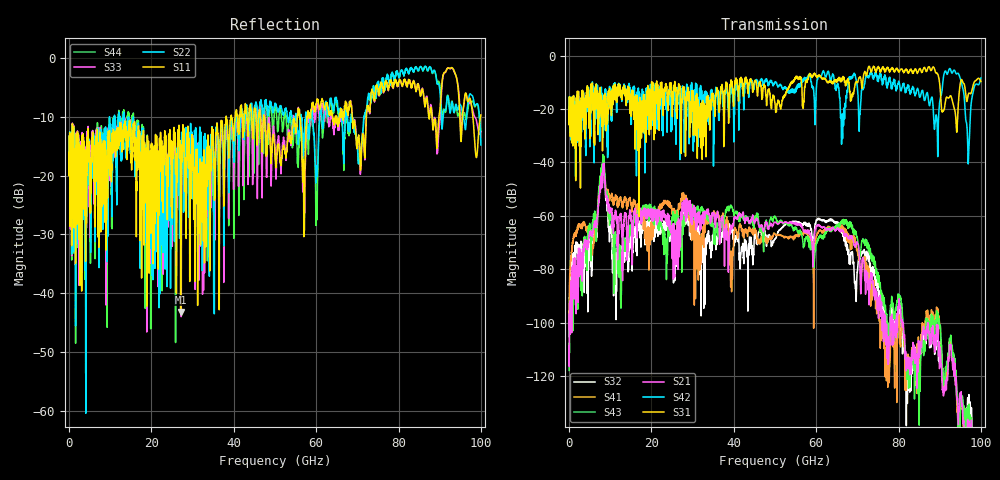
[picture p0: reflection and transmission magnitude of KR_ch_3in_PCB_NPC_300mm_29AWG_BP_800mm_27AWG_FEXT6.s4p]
! Created Thu Mar  2 13:00:49 2023
# ghz S ma R 45
! 4 Port Network Data from SP1.SP block
! freq  magS11  angS11  magS12  angS12  magS13  angS13  magS14  angS14
!  magS21  angS21  magS22  angS22  magS23  angS23  magS24  angS24
!  magS31  angS31  magS32  angS32  magS33  angS33  magS34  angS34
!  magS41  angS41  magS42  angS42  magS43  angS43  magS44  angS44
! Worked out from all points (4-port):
!   4000 points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, 25 MHz to 100 GHz, reference 45 ohm
!   strongest paths, dB at 25 MHz, 25.02 GHz, 50.02 GHz, 75.03 GHz, 100 GHz:
!     S31: -20.7, -18.0, -18.0, -4.3, -9.7
!     S42: -20.7, -21.7, -10.2, -8.9, -8.4
!     S21: -108.8, -70.8, -62.4, -92.3, -165.5
!     S43: -117.9, -61.2, -60.3, -82.7, -160.2
!     S41: -98.4, -59.2, -66.8, -96.4, -176.1
!     S32: -105.3, -68.0, -68.8, -86.3, -159.2
!   lowest |S11| = -43.2 dB at 27.1 GHz (marker M1), VSWR 1.01, Z = 44.9 - j0.61 ohm
!   |S11| at or under -10 dB: start of sweep to 38.14 GHz; 47.46 GHz to 55.4 GHz (7.94 GHz wide, 15.4 % of centre); 68.72 GHz to 72.16 GHz (3.434 GHz wide, 4.87 % of centre)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
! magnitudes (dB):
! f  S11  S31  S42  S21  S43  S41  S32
! 25 MHz  -16.1  -20.7  -20.7  -108.8  -117.9  -98.4  -105.3
! 8.2 GHz  -23.6  -26.4  -22.8  -42.4  -38.7  -41.0  -40.0
! 11.2 GHz  -13.7  -13.2  -12.4  -58.7  -67.7  -53.0  -74.6
! 27.1 GHz  -43.2  -17.6  -19.2  -64.3  -67.1  -56.2  -65.8
! 92.53 GHz  -1.8  -15.2  -4.9  -108.9  -105.9  -107.7  -106.9
! 96.88 GHz  -7.4  -15.0  -38.5  -140.0  -135.5  -144.8  -131.6
! 100 GHz  -9.7  -9.7  -8.4  -165.5  -160.2  -176.1  -159.2
